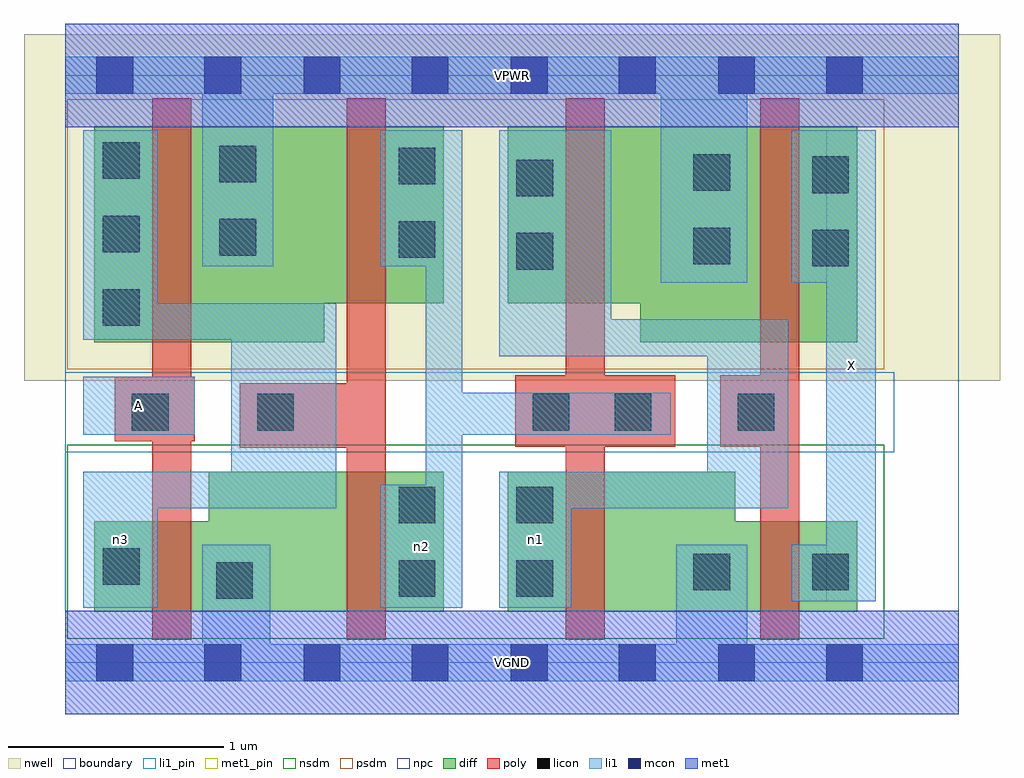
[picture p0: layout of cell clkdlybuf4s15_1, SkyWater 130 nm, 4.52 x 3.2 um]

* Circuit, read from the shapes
.subckt clkdlybuf4s15_1 A VGND VPWR X n1 n2 n3
XM1 VGND A n3 VSUBS sky130_fd_pr__nfet_01v8 w=0.42 l=0.18
XM2 n2 n3 VGND VSUBS sky130_fd_pr__nfet_01v8 w=0.65 l=0.18
XM3 VGND n2 n1 VSUBS sky130_fd_pr__nfet_01v8 w=0.65 l=0.18
XM4 X n1 VGND VSUBS sky130_fd_pr__nfet_01v8 w=0.42 l=0.18
XM5 VPWR A n3 n4 sky130_fd_pr__pfet_01v8 w=1 l=0.18
XM6 n2 n3 VPWR n4 sky130_fd_pr__pfet_01v8 w=0.82 l=0.18
XM7 VPWR n2 n1 n4 sky130_fd_pr__pfet_01v8 w=0.82 l=0.18
XM8 X n1 VPWR n4 sky130_fd_pr__pfet_01v8 w=1 l=0.18
.ends

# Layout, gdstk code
import gdstk
lib = gdstk.Library(unit=1e-6, precision=1e-09)
def R(c, l, rs):  # rectangles x0, y0, x1, y1
    for r in rs: c.add(gdstk.rectangle(r[:2], r[2:], *l))
def A(c, l, x, y, w, h, nx, ny, dx, dy):  # array of equal rectangles
    R(c, l, [(x+i*dx, y+j*dy, x+i*dx+w, y+j*dy+h) for i in range(nx) for j in range(ny)])
nwell = (64, 20)
diff = (65, 20)
poly = (66, 20)
licon = (66, 44)
li1_pin = (67, 16)
li1 = (67, 20)
mcon = (67, 44)
met1_pin = (68, 16)
met1 = (68, 20)
nsdm = (93, 44)
psdm = (94, 20)
npc = (95, 20)
boundary = (235, 4)

clkdlybuf4s15_1 = lib.new_cell('clkdlybuf4s15_1')
R(clkdlybuf4s15_1, nwell, [(-0.19,1.305,4.33,2.91), (0,1.305,4.14,2.91)])
R(clkdlybuf4s15_1, diff, [(0.135,0.235,1.755,0.655), (0.665,0.235,1.755,0.885), (2.05,0.235,3.67,0.655), (2.05,0.235,3.105,0.885), (0.135,1.485,1.2,2.485), (2.665,1.485,3.67,2.485), (0.135,1.665,1.755,2.485), (2.05,1.665,3.67,2.485)])
R(clkdlybuf4s15_1, poly, [(0.405,0.105,0.585,2.615), (1.305,0.105,1.485,2.615), (2.32,0.105,2.5,2.615), (3.22,0.105,3.4,2.615), (0.81,0.995,1.485,1.295), (2.085,1,2.825,1.33), (3.035,1,3.4,1.33), (0.23,1.025,0.6,1.325)])
A(clkdlybuf4s15_1, licon, 0.175, 1.56, 0.17, 0.17, 1, 3, 0, 0.34)
R(clkdlybuf4s15_1, licon, [(0.7,0.295,0.87,0.465), (1.545,0.305,1.715,0.475), (2.09,0.305,2.26,0.475), (2.91,0.335,3.08,0.505), (3.46,0.335,3.63,0.505), (0.175,0.36,0.345,0.53), (1.545,0.645,1.715,0.815), (2.09,0.645,2.26,0.815), (0.31,1.075,0.48,1.245), (0.89,1.075,1.06,1.245), (2.165,1.075,2.335,1.245), (2.545,1.075,2.715,1.245), (3.115,1.075,3.285,1.245), (2.09,1.82,2.26,1.99), (3.46,1.835,3.63,2.005), (2.91,1.845,3.08,2.015), (1.545,1.875,1.715,2.045), (0.715,1.885,0.885,2.055), (2.09,2.16,2.26,2.33), (3.46,2.175,3.63,2.345), (2.91,2.185,3.08,2.355), (1.545,2.215,1.715,2.385), (0.715,2.225,0.885,2.395)])
R(clkdlybuf4s15_1, li1_pin, [(3.525,0.285,3.755,2.465), (0.085,1.055,0.6,1.325)])
R(clkdlybuf4s15_1, li1, [(0,-0.085,4.14,0.085), (0.635,-0.085,0.95,0.545), (2.83,-0.085,3.16,0.545), (0.085,0.255,0.43,0.885), (1.46,0.255,1.84,0.825), (1.67,0.255,1.84,2.465), (2.01,0.255,2.345,0.885), (3.365,0.285,3.755,0.545), (3.525,0.285,3.755,2.465), (0.085,0.715,1.255,0.885), (0.77,0.715,1.255,1.665), (2.01,0.715,3.35,0.885), (2.975,0.715,3.35,1.59), (0.085,1.055,0.6,1.325), (1.67,1.055,2.805,1.25), (2.01,1.42,3.35,1.59), (2.01,1.42,2.53,2.465), (0.085,1.495,1.255,1.665), (0.085,1.495,0.43,2.465), (2.76,1.76,3.16,2.805), (3.365,1.76,3.755,2.465), (0.635,1.835,0.965,2.805), (1.46,1.835,1.84,2.465), (0,2.635,4.14,2.805)])
R(clkdlybuf4s15_1, mcon, [(0.145,-0.085,0.315,0.085), (0.645,-0.085,0.815,0.085), (1.105,-0.085,1.275,0.085), (1.605,-0.085,1.775,0.085), (2.065,-0.085,2.235,0.085), (2.565,-0.085,2.735,0.085), (3.025,-0.085,3.195,0.085), (3.525,-0.085,3.695,0.085), (0.145,2.635,0.315,2.805), (0.645,2.635,0.815,2.805), (1.105,2.635,1.275,2.805), (1.605,2.635,1.775,2.805), (2.065,2.635,2.235,2.805), (2.565,2.635,2.735,2.805), (3.025,2.635,3.195,2.805), (3.525,2.635,3.695,2.805)])
R(clkdlybuf4s15_1, met1_pin, [(0,-0.24,4.14,0.24), (0,2.48,4.14,2.96)])
R(clkdlybuf4s15_1, met1, [(0,-0.24,4.14,0.24), (0,2.48,4.14,2.96)])
R(clkdlybuf4s15_1, nsdm, [(0.01,0.11,3.795,1.01)])
R(clkdlybuf4s15_1, psdm, [(0.01,1.36,3.795,2.61)])
R(clkdlybuf4s15_1, npc, [(0,0.975,3.84,1.345)])
R(clkdlybuf4s15_1, boundary, [(0,0,4.14,2.72)])
clkdlybuf4s15_1.add(gdstk.Label('A', (0.342,1.19), layer=67, texttype=5))
clkdlybuf4s15_1.add(gdstk.Label('X', (3.64,1.375), layer=67, texttype=5))
clkdlybuf4s15_1.add(gdstk.Label('n3', (0.257,0.57), layer=67, texttype=5))
clkdlybuf4s15_1.add(gdstk.Label('n2', (1.65,0.54), layer=67, texttype=5))
clkdlybuf4s15_1.add(gdstk.Label('n1', (2.177,0.57), layer=67, texttype=5))
clkdlybuf4s15_1.add(gdstk.Label('VPWR', (2.07,2.72), layer=68, texttype=5))
clkdlybuf4s15_1.add(gdstk.Label('VGND', (2.07,0), layer=68, texttype=5))
clkdlybuf4s15_1.add(gdstk.Label('A', (0.342,1.19), layer=67, texttype=16))
clkdlybuf4s15_1.add(gdstk.Label('X', (3.64,1.375), layer=67, texttype=16))
clkdlybuf4s15_1.add(gdstk.Label('VPWR', (2.07,2.72), layer=68, texttype=16))
clkdlybuf4s15_1.add(gdstk.Label('VGND', (2.07,0), layer=68, texttype=16))

lib.write_gds('clkdlybuf4s15_1.gds')
